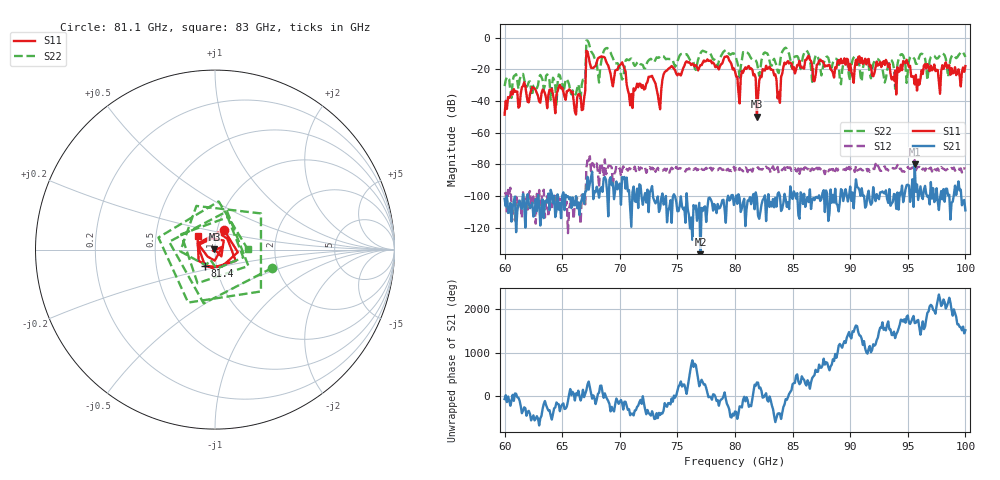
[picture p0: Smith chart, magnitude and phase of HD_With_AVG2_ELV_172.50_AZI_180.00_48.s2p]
! 11/25/2026 10:34:21 AM
! C:\ANRITSUVNA\TEMP\TEMP.S2P
! CHANNEL.1
! TR.MEASUREMENT
! RAW.DATA
# HZ S RI R 50.0
! FREQ.HZ  S11RE  S11IM  S21RE  S21IM  S12RE  S12IM  S22RE  S22IM
!; PortSelection: Port_12
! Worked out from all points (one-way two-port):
!   401 points, 60 GHz to 100 GHz, reference 50 ohm
!   highest |S21| = -79.81 dB at 95.6 GHz (marker M1); lowest = -137.0 dB at 77 GHz (marker M2)
!   lowest |S11| = -49.7 dB at 81.9 GHz (marker M3), VSWR 1.01, Z = 49.7 + j0.0835 ohm
!   |S11| at or under -10 dB: start of sweep to 67.09 GHz; 67.24 GHz to end of sweep
!   |S22| runs from -43.0 to -1.7 dB; largest |S21 - S12| = 0.00024
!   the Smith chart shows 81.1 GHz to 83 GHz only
!   S11 on the Smith chart (normalised r, x): 81.1 GHz: 1.08, +0.24; 81.4 GHz: 0.88, -0.17; 83 GHz: 0.81, +0.12
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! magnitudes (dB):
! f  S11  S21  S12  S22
! 60 GHz  -48.6  -101.8  -98.6  -30.5
! 61.6 GHz  -30.6  -98.7  -97.6  -22.8
! 66.7 GHz  -45.7  -102.2  -99.2  -29.5
! 67.3 GHz  -12.1  -95.9  -79.4  -3.1
! 68.4 GHz  -11.8  -94.5  -79.2  -14.7
! 70.3 GHz  -17.5  -89.0  -81.2  -25.5
! 70.9 GHz  -42.7  -108.0  -83.1  -13.5
! 72.7 GHz  -24.4  -96.3  -83.1  -13.3
! 73.4 GHz  -41.1  -110.1  -83.6  -12.6
! 74.3 GHz  -19.2  -107.0  -85.3  -13.4
! 77 GHz  -17.3  -137.0  -82.1  -9.9
! 80 GHz  -21.2  -102.6  -84.0  -11.0
! 81.1 GHz  -18.4  -102.9  -84.9  -9.5
! 81.4 GHz  -19.3  -105.1  -83.3  -13.0
! 81.9 GHz  -49.7  -101.1  -82.6  -15.7
! 83 GHz  -18.3  -106.9  -83.2  -14.8
! 83.8 GHz  -34.1  -97.7  -85.7  -22.3
! 84.4 GHz  -16.7  -101.9  -84.5  -6.3
! 86.7 GHz  -17.4  -102.4  -82.6  -27.9
! 93.4 GHz  -16.4  -95.6  -84.1  -15.6
! 95.6 GHz  -29.4  -79.8  -77.3  -13.7
! 100 GHz  -17.9  -109.1  -82.7  -12.1
